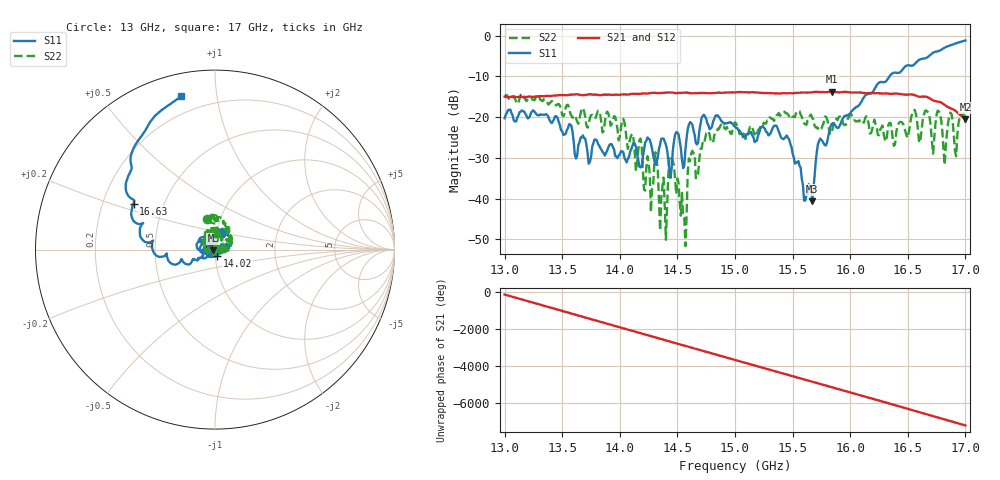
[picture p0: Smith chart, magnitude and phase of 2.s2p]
!Keysight Technologies,P9374A,MY57211807,A.19.30.04
!Date: Friday, May 01, 2026 14:42:42
!Correction: S11(C  2-Port  )
!S21(C  2-Port  )
!S12(C  2-Port  )
!S22(C  2-Port  )
!S2P File: Measurements: S11, S21, S12, S22:
# Hz S  RI  R 50
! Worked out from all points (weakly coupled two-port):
!   401 points, 13 GHz to 17 GHz, reference 50 ohm
!   highest |S21| = -13.71 dB at 15.84 GHz (marker M1); lowest = -20.5 dB at 17 GHz (marker M2)
!   lowest |S11| = -40.6 dB at 15.67 GHz (marker M3), VSWR 1.02, Z = 49.1 - j0.293 ohm
!   |S11| at or under -10 dB: start of sweep to 16.34 GHz
!   |S22| runs from -51.6 to -14.2 dB; largest |S21 - S12| = 0.0056
!   S11 on the Smith chart (normalised r, x): 13 GHz: 1.06, +0.19; 14.02 GHz: 1.02, -0.07; 16.63 GHz: 0.33, +0.23; 17 GHz: 0.11, +0.80
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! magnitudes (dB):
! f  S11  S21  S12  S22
! 13 GHz  -20.3  -15.0  -15.0  -15.1
! 13.67 GHz  -24.9  -14.6  -14.6  -17.9
! 14.02 GHz  -28.3  -14.4  -14.4  -20.9
! 14.34 GHz  -27.8  -14.1  -14.1  -40.6
! 14.4 GHz  -26.7  -14.0  -14.0  -50.1
! 14.45 GHz  -32.5  -14.0  -14.0  -30.1
! 14.49 GHz  -23.7  -14.1  -14.1  -38.8
! 14.56 GHz  -31.8  -14.0  -14.0  -44.8
! 14.62 GHz  -21.5  -14.1  -14.1  -28.9
! 15 GHz  -22.3  -13.9  -13.9  -21.2
! 15.36 GHz  -22.1  -14.1  -14.1  -19.6
! 15.67 GHz  -40.6  -13.9  -13.9  -20.2
! 15.73 GHz  -25.8  -13.8  -13.8  -22.5
! 15.84 GHz  -21.6  -13.7  -13.7  -24.0
! 16.34 GHz  -10.1  -14.2  -14.2  -21.4
! 16.63 GHz  -5.7  -14.9  -14.9  -20.5
! 16.72 GHz  -4.2  -15.9  -15.9  -28.9
! 16.77 GHz  -3.7  -16.2  -16.2  -18.6
! 16.82 GHz  -2.9  -17.0  -16.9  -31.7
! 16.87 GHz  -2.4  -17.8  -17.8  -18.9
! 16.92 GHz  -1.9  -18.6  -18.6  -29.6
! 17 GHz  -1.2  -20.5  -20.5  -21.3
